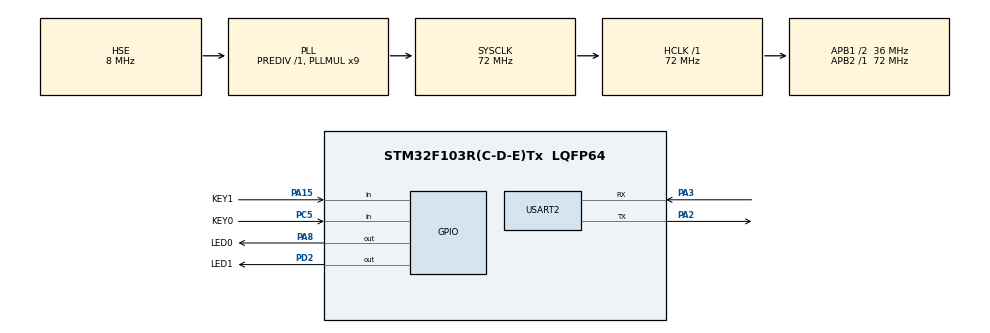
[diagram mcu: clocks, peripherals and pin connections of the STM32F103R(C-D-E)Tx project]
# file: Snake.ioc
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FREERTOS.Tasks01=GameTask,0,128,GameFunc,Default,NULL,Dynamic,NULL,NULL;TimeTask,0,128,TimeFunc,Default,NULL,Dynamic,NULL,NULL;LEDTask,0,128,LEDFunc,Default,NULL,Dynamic,NULL,NULL
Mcu.Family=STM32F1
Mcu.Name=STM32F103R(C-D-E)Tx
Mcu.Package=LQFP64
NVIC.PriorityGroup=NVIC_PRIORITYGROUP_4
NVIC.TIM3_IRQn=true\:0\:0\:false\:false\:true\:false\:false\:true
NVIC.TimeBase=TIM3_IRQn
NVIC.TimeBaseIP=TIM3
PA13.Mode=Serial_Wire
PA13.Signal=SYS_JTMS-SWDIO
PA14.Mode=Serial_Wire
PA14.Signal=SYS_JTCK-SWCLK
PA15.GPIO_Label=KEY1
PA15.GPIO_PuPd=GPIO_PULLUP
PA15.Signal=GPIO_Input
PA2.Mode=Asynchronous
PA2.Signal=USART2_TX
PA3.Mode=Asynchronous
PA3.Signal=USART2_RX
PA8.GPIO_Label=LED0
PA8.Signal=GPIO_Output
PC5.GPIO_Label=KEY0
PC5.GPIO_PuPd=GPIO_PULLUP
PC5.Signal=GPIO_Input
PD0-OSC_IN.Mode=HSE-External-Oscillator
PD0-OSC_IN.Signal=RCC_OSC_IN
PD1-OSC_OUT.Mode=HSE-External-Oscillator
PD1-OSC_OUT.Signal=RCC_OSC_OUT
PD2.GPIO_Label=LED1
PD2.Signal=GPIO_Output
ProjectManager.HeapSize=0x200
ProjectManager.StackSize=0x400
ProjectManager.TargetToolchain=STM32CubeIDE
RCC.AHBFreq_Value=72000000
RCC.APB1CLKDivider=RCC_HCLK_DIV2
RCC.APB1Freq_Value=36000000
RCC.APB1TimFreq_Value=72000000
RCC.APB2Freq_Value=72000000
RCC.APB2TimFreq_Value=72000000
RCC.HCLKFreq_Value=72000000
RCC.PLLMUL=RCC_PLL_MUL9
RCC.PLLSourceVirtual=RCC_PLLSOURCE_HSE
RCC.SYSCLKFreq_VALUE=72000000
RCC.SYSCLKSource=RCC_SYSCLKSOURCE_PLLCLK
RCC.USBFreq_Value=72000000
USART2.VirtualMode=VM_ASYNC
VP_FREERTOS_VS_CMSIS_V1.Mode=CMSIS_V1
VP_SYS_VS_tim3.Mode=TIM3
board=custom

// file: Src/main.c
/* USER CODE BEGIN Header */
/**
  ******************************************************************************
  * @file           : main.c
  * @brief          : Main program body
  ******************************************************************************
  * @attention
  *
  * <h2><center>&copy; Copyright (c) 2019 STMicroelectronics.
  * All rights reserved.</center></h2>
  *
  * This software component is licensed by ST under BSD 3-Clause license,
  * the "License"; You may not use this file except in compliance with the
  * License. You may obtain a copy of the License at:
  *                        opensource.org/licenses/BSD-3-Clause
  *
  ******************************************************************************
  */
/* USER CODE END Header */

#include "main.h"
#include "cmsis_os.h"
#include "usart.h"
#include "gpio.h"

/* USER CODE BEGIN Includes */
#include "lcd.h"
#include "snake.h"
/* USER CODE END Includes */

void SystemClock_Config(void);
void MX_FREERTOS_Init(void);

int main(void)
{

  /* MCU Configuration--------------------------------------------------------*/

  /* Reset of all peripherals, Initializes the Flash interface and the Systick. */
  HAL_Init();

  /* USER CODE BEGIN Init */
  LCD_Init();
  /* USER CODE END Init */

  /* Configure the system clock */
  SystemClock_Config();

  /* Initialize all configured peripherals */
  MX_GPIO_Init();
  MX_USART2_UART_Init();

  /* Call init function for freertos objects (in freertos.c) */
  MX_FREERTOS_Init();

  /* Start scheduler */
  osKernelStart();

  /* We should never get here as control is now taken by the scheduler */

  /* Infinite loop */
  while (1)
  {

  }
}

void SystemClock_Config(void)
{
  RCC_OscInitTypeDef RCC_OscInitStruct = {0};
  RCC_ClkInitTypeDef RCC_ClkInitStruct = {0};

  /** Initializes the CPU, AHB and APB busses clocks
  */
  RCC_OscInitStruct.OscillatorType = RCC_OSCILLATORTYPE_HSE;
  RCC_OscInitStruct.HSEState = RCC_HSE_ON;
  RCC_OscInitStruct.HSEPredivValue = RCC_HSE_PREDIV_DIV1;
  RCC_OscInitStruct.HSIState = RCC_HSI_ON;
  RCC_OscInitStruct.PLL.PLLState = RCC_PLL_ON;
  RCC_OscInitStruct.PLL.PLLSource = RCC_PLLSOURCE_HSE;
  RCC_OscInitStruct.PLL.PLLMUL = RCC_PLL_MUL9;
  if (HAL_RCC_OscConfig(&RCC_OscInitStruct) != HAL_OK)
  {
    Error_Handler();
  }
  /** Initializes the CPU, AHB and APB busses clocks
  */
  RCC_ClkInitStruct.ClockType = RCC_CLOCKTYPE_HCLK|RCC_CLOCKTYPE_SYSCLK
                              |RCC_CLOCKTYPE_PCLK1|RCC_CLOCKTYPE_PCLK2;
  RCC_ClkInitStruct.SYSCLKSource = RCC_SYSCLKSOURCE_PLLCLK;
  RCC_ClkInitStruct.AHBCLKDivider = RCC_SYSCLK_DIV1;
  RCC_ClkInitStruct.APB1CLKDivider = RCC_HCLK_DIV2;
  RCC_ClkInitStruct.APB2CLKDivider = RCC_HCLK_DIV1;

  if (HAL_RCC_ClockConfig(&RCC_ClkInitStruct, FLASH_LATENCY_2) != HAL_OK)
  {
    Error_Handler();
  }
}

void HAL_TIM_PeriodElapsedCallback(TIM_HandleTypeDef *htim)
{
  if (htim->Instance == TIM3) {
    HAL_IncTick();
  }
}

void Error_Handler(void)
{
}

/************************ (C) COPYRIGHT STMicroelectronics *****END OF FILE****/

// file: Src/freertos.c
/* USER CODE BEGIN Header */
/**
  ******************************************************************************
  * File Name          : freertos.c
  * Description        : Code for freertos applications
  ******************************************************************************
  * @attention
  *
  * <h2><center>&copy; Copyright (c) 2019 STMicroelectronics.
  * All rights reserved.</center></h2>
  *
  * This software component is licensed by ST under Ultimate Liberty license
  * SLA0044, the "License"; You may not use this file except in compliance with
  * the License. You may obtain a copy of the License at:
  *                             www.st.com/SLA0044
  *
  ******************************************************************************
  */
/* USER CODE END Header */

#include "FreeRTOS.h"
#include "task.h"
#include "main.h"
#include "cmsis_os.h"

/* USER CODE BEGIN Includes */
#include "snake.h"
/* USER CODE END Includes */

osThreadId GameTaskHandle;
osThreadId TimeTaskHandle;
osThreadId LEDTaskHandle;

void GameFunc(void const * argument);
void TimeFunc(void const * argument);
void LEDFunc(void const * argument);

void MX_FREERTOS_Init(void); /* (MISRA C 2004 rule 8.1) */

void MX_FREERTOS_Init(void) {

  /* Create the thread(s) */
  /* definition and creation of GameTask */
  osThreadDef(GameTask, GameFunc, osPriorityNormal, 0, 128);
  GameTaskHandle = osThreadCreate(osThread(GameTask), NULL);

  /* definition and creation of TimeTask */
  osThreadDef(TimeTask, TimeFunc, osPriorityNormal, 0, 128);
  TimeTaskHandle = osThreadCreate(osThread(TimeTask), NULL);

  /* definition and creation of LEDTask */
  osThreadDef(LEDTask, LEDFunc, osPriorityNormal, 0, 128);
  LEDTaskHandle = osThreadCreate(osThread(LEDTask), NULL);

}

void GameFunc(void const * argument)
{

  /* USER CODE BEGIN GameFunc */
  /* Infinite loop */
  for(;;)
  {
	  launch();
  }
  /* USER CODE END GameFunc */
}

void TimeFunc(void const * argument)
{
  /* USER CODE BEGIN TimeFunc */
  /* Infinite loop */
  for(;;)
  {
	milisecond++;
    osDelay(1);
  }
  /* USER CODE END TimeFunc */
}

void LEDFunc(void const * argument)
{
  /* USER CODE BEGIN LEDFunc */
  /* Infinite loop */
  for(;;)
  {
	if(green_blink){
		HAL_GPIO_TogglePin(LED1_GPIO_Port, LED1_Pin);
		osDelay(250);
		HAL_GPIO_TogglePin(LED1_GPIO_Port, LED1_Pin);
		osDelay(250);
		green_blink = 0;
	}
	if(red_blink){
		HAL_GPIO_TogglePin(LED0_GPIO_Port, LED0_Pin);
		osDelay(250);
		HAL_GPIO_TogglePin(LED0_GPIO_Port, LED0_Pin);
		osDelay(250);
		red_blink = 0;
	}
    osDelay(1);
  }
  /* USER CODE END LEDFunc */
}

/************************ (C) COPYRIGHT STMicroelectronics *****END OF FILE****/
